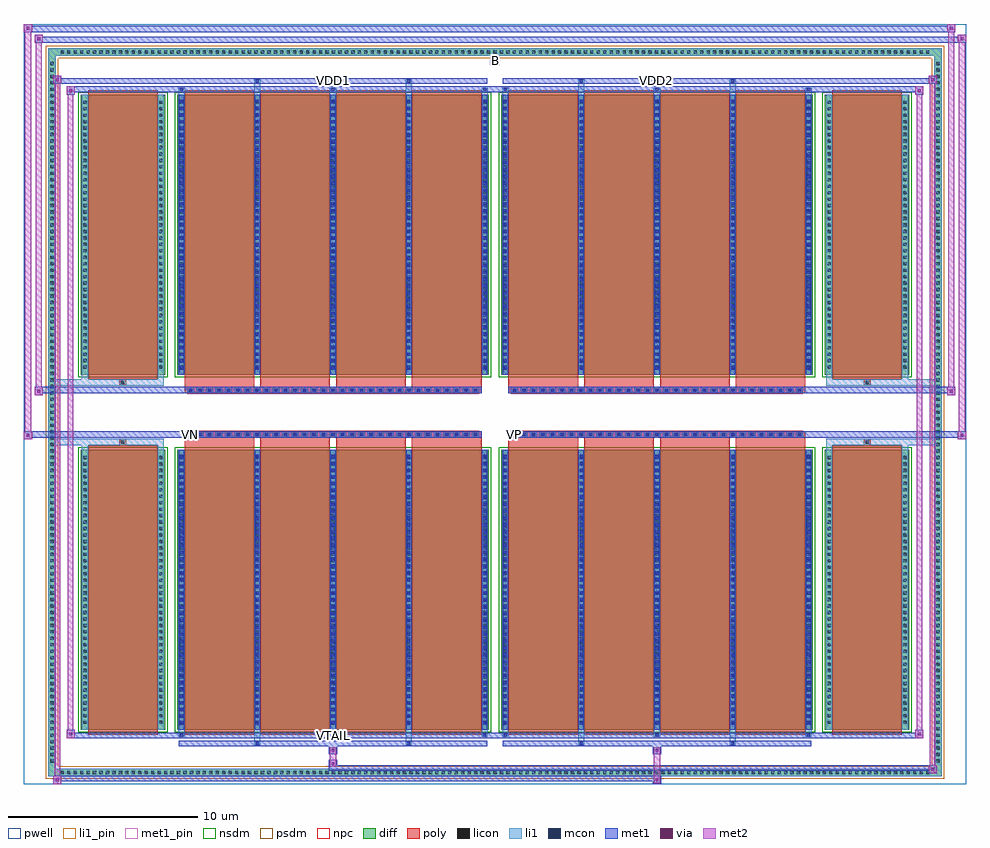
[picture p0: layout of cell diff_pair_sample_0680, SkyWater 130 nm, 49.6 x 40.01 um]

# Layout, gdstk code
import gdstk
lib = gdstk.Library(unit=1e-6, precision=5e-09)
def R(c, l, rs):  # rectangles x0, y0, x1, y1
    for r in rs: c.add(gdstk.rectangle(r[:2], r[2:], *l))
def A(c, l, x, y, w, h, nx, ny, dx, dy):  # array of equal rectangles
    R(c, l, [(x+i*dx, y+j*dy, x+i*dx+w, y+j*dy+h) for i in range(nx) for j in range(ny)])
def P(c, l, *ps):  # polygons
    for p in ps: c.add(gdstk.Polygon(p, *l))
pwell = (64, 44)
diff = (65, 20)
poly = (66, 20)
licon = (66, 44)
li1_pin = (67, 16)
li1 = (67, 20)
mcon = (67, 44)
met1_pin = (68, 16)
met1 = (68, 20)
via = (68, 44)
met2 = (69, 20)
nsdm = (93, 44)
psdm = (94, 20)
npc = (95, 20)

diff_pair_sample_0680 = lib.new_cell('diff_pair_sample_0680')
R(diff_pair_sample_0680, pwell, [(-24.8,-19.57,24.8,20.44), (-22.12,-17.76,-0.01,-0.8), (0.01,-17.76,22.12,-0.8), (-22.12,0.8,-0.01,17.76), (0.01,0.8,22.12,17.76)])
A(diff_pair_sample_0680, diff, -22.985, -19.17, 0.41, 0.41, 135, 2, 0.34, 37.93)
A(diff_pair_sample_0680, diff, -23.53, -18.565, 0.41, 0.41, 1, 109, 0, 0.34)
A(diff_pair_sample_0680, diff, 23.12, -18.565, 0.41, 0.41, 1, 109, 0, 0.34)
R(diff_pair_sample_0680, diff, [(-22.985,-19.17,22.985,-18.76), (-23.53,-18.565,-23.12,18.565), (23.12,-18.565,23.53,18.565), (-21.81,-16.715,-17.37,-1.985), (-16.73,-16.715,-0.32,-1.985), (0.32,-16.715,16.73,-1.985), (17.37,-16.715,21.81,-1.985), (-21.81,1.985,-17.37,16.715), (-16.73,1.985,-0.32,16.715), (0.32,1.985,16.73,16.715), (17.37,1.985,21.81,16.715), (-22.985,18.76,22.985,19.17)])
P(diff_pair_sample_0680, diff, [(23.53,19.17),(-23.53,19.17),(-23.53,-18.76),(-23.12,-18.76),(-23.12,18.76),(23.12,18.76),(23.12,-18.76),(-23.12,-18.76),(-23.53,-18.76),(-23.53,-19.17),(23.53,-19.17)])
A(diff_pair_sample_0680, poly, -16.34, -16.965, 3.66, 15.23, 4, 2, 3.99, 18.7)
A(diff_pair_sample_0680, poly, 0.71, -16.965, 3.66, 15.23, 4, 2, 3.99, 18.7)
A(diff_pair_sample_0680, poly, -16.34, -1.735, 3.66, 0.405, 4, 2, 3.99, 3.065)
A(diff_pair_sample_0680, poly, 0.71, -1.735, 3.66, 0.405, 4, 2, 3.99, 3.065)
A(diff_pair_sample_0680, poly, -16.19, -1.33, 0.33, 0.33, 31, 2, 0.5, 2.33)
A(diff_pair_sample_0680, poly, 0.86, -1.33, 0.33, 0.33, 31, 2, 0.5, 2.33)
R(diff_pair_sample_0680, poly, [(-21.42,-16.965,-17.76,-1.735), (17.76,-16.965,21.42,-1.735), (-19.755,-1.735,-19.425,-1.405), (-19.755,-1.735,-19.425,-1.405), (19.425,-1.735,19.755,-1.405), (19.425,-1.735,19.755,-1.405), (-16.34,-1.33,-0.71,-1), (0.71,-1.33,16.34,-1), (-16.34,1,-0.71,1.33), (0.71,1,16.34,1.33), (-19.755,1.405,-19.425,1.735), (-19.755,1.405,-19.425,1.735), (19.425,1.405,19.755,1.735), (19.425,1.405,19.755,1.735), (-21.42,1.735,-17.76,16.965), (17.76,1.735,21.42,16.965)])
A(diff_pair_sample_0680, licon, -22.865, -19.05, 0.17, 0.17, 135, 2, 0.34, 37.93)
A(diff_pair_sample_0680, licon, -23.41, -18.445, 0.17, 0.17, 1, 109, 0, 0.34)
A(diff_pair_sample_0680, licon, 23.24, -18.445, 0.17, 0.17, 1, 109, 0, 0.34)
A(diff_pair_sample_0680, licon, -21.67, -16.405, 0.17, 0.17, 1, 42, 0, 0.34)
A(diff_pair_sample_0680, licon, -17.68, -16.405, 0.17, 0.17, 1, 42, 0, 0.34)
A(diff_pair_sample_0680, licon, -16.59, -16.405, 0.17, 0.17, 5, 42, 3.99, 0.34)
A(diff_pair_sample_0680, licon, 0.46, -16.405, 0.17, 0.17, 5, 42, 3.99, 0.34)
A(diff_pair_sample_0680, licon, 17.51, -16.405, 0.17, 0.17, 1, 42, 0, 0.34)
A(diff_pair_sample_0680, licon, 21.5, -16.405, 0.17, 0.17, 1, 42, 0, 0.34)
A(diff_pair_sample_0680, licon, -16.11, -1.25, 0.17, 0.17, 31, 2, 0.5, 2.33)
A(diff_pair_sample_0680, licon, 0.94, -1.25, 0.17, 0.17, 31, 2, 0.5, 2.33)
A(diff_pair_sample_0680, licon, -21.67, 2.295, 0.17, 0.17, 1, 42, 0, 0.34)
A(diff_pair_sample_0680, licon, -17.68, 2.295, 0.17, 0.17, 1, 42, 0, 0.34)
A(diff_pair_sample_0680, licon, -16.59, 2.295, 0.17, 0.17, 5, 42, 3.99, 0.34)
A(diff_pair_sample_0680, licon, 0.46, 2.295, 0.17, 0.17, 5, 42, 3.99, 0.34)
A(diff_pair_sample_0680, licon, 17.51, 2.295, 0.17, 0.17, 1, 42, 0, 0.34)
A(diff_pair_sample_0680, licon, 21.5, 2.295, 0.17, 0.17, 1, 42, 0, 0.34)
R(diff_pair_sample_0680, licon, [(-19.675,-1.655,-19.505,-1.485), (19.505,-1.655,19.675,-1.485), (-19.675,1.485,-19.505,1.655), (19.505,1.485,19.675,1.655)])
R(diff_pair_sample_0680, li1_pin, [(-0.25,18.26,0.25,18.76)])
A(diff_pair_sample_0680, li1, -22.945, -19.13, 0.33, 0.33, 135, 2, 0.34, 37.93)
A(diff_pair_sample_0680, li1, -23.49, -18.525, 0.33, 0.33, 1, 109, 0, 0.34)
A(diff_pair_sample_0680, li1, 23.16, -18.525, 0.33, 0.33, 1, 109, 0, 0.34)
A(diff_pair_sample_0680, li1, -16.67, -17.09, 0.33, 0.375, 3, 2, 7.98, 33.805)
A(diff_pair_sample_0680, li1, -16.59, -17.09, 0.17, 0.17, 3, 2, 7.98, 34.01)
A(diff_pair_sample_0680, li1, 0.38, -17.09, 0.33, 0.375, 3, 2, 7.98, 33.805)
A(diff_pair_sample_0680, li1, 0.46, -17.09, 0.17, 0.17, 3, 2, 7.98, 34.01)
A(diff_pair_sample_0680, li1, -16.67, -16.715, 0.33, 14.73, 5, 2, 3.99, 18.7)
A(diff_pair_sample_0680, li1, 0.38, -16.715, 0.33, 14.73, 5, 2, 3.99, 18.7)
A(diff_pair_sample_0680, li1, -21.75, -16.485, 0.33, 0.33, 1, 42, 0, 0.34)
A(diff_pair_sample_0680, li1, -17.76, -16.485, 0.33, 0.33, 1, 42, 0, 0.34)
A(diff_pair_sample_0680, li1, -16.67, -16.485, 0.33, 0.33, 5, 42, 3.99, 0.34)
A(diff_pair_sample_0680, li1, 0.38, -16.485, 0.33, 0.33, 5, 42, 3.99, 0.34)
A(diff_pair_sample_0680, li1, 17.43, -16.485, 0.33, 0.33, 1, 42, 0, 0.34)
A(diff_pair_sample_0680, li1, 21.42, -16.485, 0.33, 0.33, 1, 42, 0, 0.34)
A(diff_pair_sample_0680, li1, -16.59, -16.455, 0.17, 0.17, 5, 40, 3.99, 0.36)
A(diff_pair_sample_0680, li1, -16.59, -16.455, 0.17, 14.21, 5, 2, 3.99, 18.7)
A(diff_pair_sample_0680, li1, 0.46, -16.455, 0.17, 0.17, 5, 40, 3.99, 0.36)
A(diff_pair_sample_0680, li1, 0.46, -16.455, 0.17, 14.21, 5, 2, 3.99, 18.7)
A(diff_pair_sample_0680, li1, -16.19, -1.33, 0.33, 0.33, 31, 2, 0.5, 2.33)
A(diff_pair_sample_0680, li1, 0.86, -1.33, 0.33, 0.33, 31, 2, 0.5, 2.33)
A(diff_pair_sample_0680, li1, -21.75, 2.215, 0.33, 0.33, 1, 42, 0, 0.34)
A(diff_pair_sample_0680, li1, -17.76, 2.215, 0.33, 0.33, 1, 42, 0, 0.34)
A(diff_pair_sample_0680, li1, -16.67, 2.215, 0.33, 0.33, 5, 42, 3.99, 0.34)
A(diff_pair_sample_0680, li1, 0.38, 2.215, 0.33, 0.33, 5, 42, 3.99, 0.34)
A(diff_pair_sample_0680, li1, 17.43, 2.215, 0.33, 0.33, 1, 42, 0, 0.34)
A(diff_pair_sample_0680, li1, 21.42, 2.215, 0.33, 0.33, 1, 42, 0, 0.34)
A(diff_pair_sample_0680, li1, -16.59, 2.245, 0.17, 0.17, 5, 40, 3.99, 0.36)
A(diff_pair_sample_0680, li1, 0.46, 2.245, 0.17, 0.17, 5, 40, 3.99, 0.36)
R(diff_pair_sample_0680, li1, [(-23.53,-19.17,-23.12,-18.76), (-23.53,-19.17,-23.12,-18.76), (-23.12,-19.17,23.12,-18.76), (23.12,-19.17,23.53,-18.76), (23.12,-19.17,23.53,-18.76), (-23.53,-18.76,-23.12,18.76), (23.12,-18.76,23.53,18.76), (-12.68,-17.52,-12.35,-16.715), (-12.6,-17.52,-12.43,-17.35), (-4.7,-17.52,-4.37,-16.715), (-4.62,-17.52,-4.45,-17.35), (4.37,-17.52,4.7,-16.715), (4.45,-17.52,4.62,-17.35), (12.35,-17.52,12.68,-16.715), (12.43,-17.52,12.6,-17.35), (-21.75,-16.715,-21.42,-1.985), (-17.76,-16.715,-17.43,-1.985), (17.43,-16.715,17.76,-1.985), (21.42,-16.715,21.75,-1.985), (-21.75,-1.985,-21.42,-1.405), (-17.76,-1.985,-17.43,-1.405), (17.43,-1.985,17.76,-1.405), (21.42,-1.985,21.75,-1.405), (-23.53,-1.735,-19.755,-1.405), (-21.75,-1.735,-19.755,-1.405), (-19.755,-1.735,-19.425,-1.405), (-19.425,-1.735,-17.43,-1.405), (17.43,-1.735,19.425,-1.405), (19.425,-1.735,19.755,-1.405), (19.425,-1.735,23.53,-1.405), (19.755,-1.735,21.75,-1.405), (-23.53,1.405,-19.755,1.735), (-21.75,1.405,-19.755,1.735), (-21.75,1.405,-21.42,1.985), (-19.755,1.405,-19.425,1.735), (-19.425,1.405,-17.43,1.735), (-17.76,1.405,-17.43,1.985), (17.43,1.405,19.425,1.735), (17.43,1.405,17.76,1.985), (19.425,1.405,19.755,1.735), (19.425,1.405,23.53,1.735), (19.755,1.405,21.75,1.735), (21.42,1.405,21.75,1.985), (-21.75,1.985,-21.42,16.715), (-17.76,1.985,-17.43,16.715), (17.43,1.985,17.76,16.715), (21.42,1.985,21.75,16.715), (-12.68,16.715,-12.35,17.52), (-4.7,16.715,-4.37,17.52), (4.37,16.715,4.7,17.52), (12.35,16.715,12.68,17.52), (-12.6,17.35,-12.43,17.52), (-4.62,17.35,-4.45,17.52), (4.45,17.35,4.62,17.52), (12.43,17.35,12.6,17.52), (-23.53,18.76,-23.12,19.17), (-23.53,18.76,-23.12,19.17), (-23.12,18.76,23.12,19.17), (23.12,18.76,23.53,19.17), (23.12,18.76,23.53,19.17)])
A(diff_pair_sample_0680, mcon, -16.59, -17.09, 0.17, 0.17, 3, 2, 7.98, 34.01)
A(diff_pair_sample_0680, mcon, 0.46, -17.09, 0.17, 0.17, 3, 2, 7.98, 34.01)
A(diff_pair_sample_0680, mcon, -16.59, -16.455, 0.17, 0.17, 5, 40, 3.99, 0.36)
A(diff_pair_sample_0680, mcon, 0.46, -16.455, 0.17, 0.17, 5, 40, 3.99, 0.36)
A(diff_pair_sample_0680, mcon, -16.11, -1.25, 0.17, 0.17, 31, 2, 0.5, 2.33)
A(diff_pair_sample_0680, mcon, 0.94, -1.25, 0.17, 0.17, 31, 2, 0.5, 2.33)
A(diff_pair_sample_0680, mcon, -16.59, 2.245, 0.17, 0.17, 5, 40, 3.99, 0.36)
A(diff_pair_sample_0680, mcon, 0.46, 2.245, 0.17, 0.17, 5, 40, 3.99, 0.36)
R(diff_pair_sample_0680, mcon, [(-12.6,-17.52,-12.43,-17.35), (-4.62,-17.52,-4.45,-17.35), (4.45,-17.52,4.62,-17.35), (12.43,-17.52,12.6,-17.35), (-12.6,17.35,-12.43,17.52), (-4.62,17.35,-4.45,17.52), (4.45,17.35,4.62,17.52), (12.43,17.35,12.6,17.52)])
R(diff_pair_sample_0680, met1_pin, [(-8.66,-17.13,-8.39,-16.86), (-16.16,-1.29,-15.89,-1.02), (0.89,-1.29,1.16,-1.02), (-8.66,17.31,-8.39,17.58), (8.39,17.31,8.66,17.58)])
A(diff_pair_sample_0680, met1, -16.65, -17.15, 0.29, 0.29, 3, 2, 7.98, 34.01)
A(diff_pair_sample_0680, met1, 0.4, -17.15, 0.29, 0.29, 3, 2, 7.98, 34.01)
A(diff_pair_sample_0680, met1, -16.65, -16.715, 0.29, 14.73, 5, 2, 3.99, 18.7)
A(diff_pair_sample_0680, met1, 0.4, -16.715, 0.29, 14.73, 5, 2, 3.99, 18.7)
A(diff_pair_sample_0680, met1, -16.65, -16.515, 0.29, 0.29, 5, 40, 3.99, 0.36)
A(diff_pair_sample_0680, met1, 0.4, -16.515, 0.29, 0.29, 5, 40, 3.99, 0.36)
A(diff_pair_sample_0680, met1, -16.17, -1.31, 0.29, 0.29, 31, 2, 0.5, 2.33)
A(diff_pair_sample_0680, met1, 0.88, -1.31, 0.29, 0.29, 31, 2, 0.5, 2.33)
A(diff_pair_sample_0680, met1, -16.65, 2.185, 0.29, 0.29, 5, 40, 3.99, 0.36)
A(diff_pair_sample_0680, met1, 0.4, 2.185, 0.29, 0.29, 5, 40, 3.99, 0.36)
R(diff_pair_sample_0680, met1, [(-23.26,-19.57,-22.83,-19.14), (8.31,-19.57,8.74,-19.14), (-23.26,-19.43,8.74,-19.14), (22.83,-19,23.26,-18.57), (-8.74,-18.86,23.26,-18.57), (-8.74,-18.72,-8.31,-18.29), (-8.74,-18.01,-8.31,-17.58), (8.31,-18.01,8.74,-17.58), (-16.65,-17.58,-0.4,-17.29), (-12.66,-17.58,-12.37,-17.29), (-4.68,-17.58,-4.39,-17.29), (0.4,-17.58,16.65,-17.29), (4.39,-17.58,4.68,-17.29), (12.37,-17.58,12.66,-17.29), (-22.55,-17.15,-22.12,-16.72), (-22.55,-17.15,-16.65,-16.86), (-16.65,-17.15,-0.4,-16.86), (-0.4,-17.15,0.4,-16.86), (0.4,-17.15,16.65,-16.86), (16.65,-17.15,22.55,-16.86), (22.12,-17.15,22.55,-16.72), (-24.8,-1.43,-24.37,-1), (24.37,-1.43,24.8,-1), (-24.8,-1.33,-0.71,-1), (-16.34,-1.33,-0.71,-1), (0.71,-1.33,16.34,-1), (0.71,-1.33,24.8,-1), (-24.23,0.9,-23.8,1.33), (23.8,0.9,24.23,1.33), (-24.23,1,-16.34,1.33), (-16.34,1,-0.71,1.33), (0.71,1,16.34,1.33), (16.34,1,24.23,1.33), (-22.55,16.72,-22.12,17.15), (22.12,16.72,22.55,17.15), (-22.55,16.86,-16.65,17.15), (-16.65,16.86,-0.4,17.15), (-0.4,16.86,0.4,17.15), (0.4,16.86,16.65,17.15), (16.65,16.86,22.55,17.15), (-23.26,17.29,-22.83,17.72), (-23.26,17.29,-16.65,17.58), (-16.65,17.29,-0.4,17.58), (-12.66,17.29,-12.37,17.58), (-4.68,17.29,-4.39,17.58), (0.4,17.29,16.65,17.58), (4.39,17.29,4.68,17.58), (12.37,17.29,12.66,17.58), (16.65,17.29,23.26,17.58), (22.83,17.29,23.26,17.72), (-24.23,19.44,-23.8,19.87), (-24.23,19.44,-22.12,19.77), (-22.12,19.44,22.12,19.77), (22.12,19.44,24.8,19.77), (24.37,19.44,24.8,19.87), (-24.8,20.01,-24.37,20.44), (-24.8,20.01,-22.12,20.34), (-22.12,20.01,22.12,20.34), (22.12,20.01,24.23,20.34), (23.8,20.01,24.23,20.44)])
R(diff_pair_sample_0680, via, [(-23.12,-19.43,-22.97,-19.28), (8.45,-19.43,8.6,-19.28), (22.97,-18.86,23.12,-18.71), (-8.6,-18.58,-8.45,-18.43), (-8.6,-17.87,-8.45,-17.72), (8.45,-17.87,8.6,-17.72), (-22.41,-17.01,-22.26,-16.86), (22.26,-17.01,22.41,-16.86), (-24.66,-1.29,-24.51,-1.14), (24.51,-1.29,24.66,-1.14), (-24.09,1.04,-23.94,1.19), (23.94,1.04,24.09,1.19), (-22.41,16.86,-22.26,17.01), (22.26,16.86,22.41,17.01), (-23.12,17.43,-22.97,17.58), (22.97,17.43,23.12,17.58), (-24.09,19.58,-23.94,19.73), (24.51,19.58,24.66,19.73), (-24.66,20.15,-24.51,20.3), (23.94,20.15,24.09,20.3)])
R(diff_pair_sample_0680, met2, [(-23.26,-19.57,-22.83,-19.14), (-23.19,-19.57,-22.9,17.72), (-22.9,-19.57,-22.83,-19.14), (-23.21,-19.52,-22.88,-19.19), (8.36,-19.52,8.69,-19.19), (8.36,-19.19,8.69,-17.96), (22.83,-19,23.26,-18.57), (22.9,-19,23.19,17.72), (23.19,-19,23.26,-18.57), (22.88,-18.95,23.21,-18.62), (-8.69,-18.67,-8.36,-18.34), (-8.69,-18.34,-8.36,-17.96), (-8.69,-17.96,-8.36,-17.63), (8.36,-17.96,8.69,-17.63), (-22.55,-17.15,-22.12,-16.72), (-22.48,-17.15,-22.19,17.15), (-22.19,-17.15,-22.12,-16.72), (22.12,-17.15,22.55,-16.72), (22.19,-17.15,22.48,17.15), (22.48,-17.15,22.55,-16.72), (-22.5,-17.1,-22.17,-16.77), (22.17,-17.1,22.5,-16.77), (-24.8,-1.43,-24.37,-1), (-24.75,-1.43,-24.42,20.44), (-24.42,-1.43,-24.37,-1), (24.37,-1.43,24.8,-1), (24.42,-1.43,24.75,19.87), (24.75,-1.43,24.8,-1), (-24.75,-1.38,-24.42,-1.05), (24.42,-1.38,24.75,-1.05), (-24.23,0.9,-23.8,1.33), (-24.18,0.9,-23.85,19.87), (-23.85,0.9,-23.8,1.33), (23.8,0.9,24.23,1.33), (23.85,0.9,24.18,20.44), (24.18,0.9,24.23,1.33), (-24.18,0.95,-23.85,1.28), (23.85,0.95,24.18,1.28), (-22.55,16.72,-22.12,17.15), (-22.19,16.72,-22.12,17.15), (22.12,16.72,22.55,17.15), (22.48,16.72,22.55,17.15), (-22.5,16.77,-22.17,17.1), (22.17,16.77,22.5,17.1), (-23.26,17.29,-22.83,17.72), (-22.9,17.29,-22.83,17.72), (22.83,17.29,23.26,17.72), (23.19,17.29,23.26,17.72), (-23.21,17.34,-22.88,17.67), (22.88,17.34,23.21,17.67), (-24.23,19.44,-23.8,19.87), (-23.85,19.44,-23.8,19.87), (24.37,19.44,24.8,19.87), (24.75,19.44,24.8,19.87), (-24.18,19.49,-23.85,19.82), (24.42,19.49,24.75,19.82), (-24.8,20.01,-24.37,20.44), (-24.42,20.01,-24.37,20.44), (23.8,20.01,24.23,20.44), (24.18,20.01,24.23,20.44), (-24.75,20.06,-24.42,20.39), (23.85,20.06,24.18,20.39)])
R(diff_pair_sample_0680, nsdm, [(-21.94,-16.845,-17.24,-1.855), (-16.86,-16.845,-0.19,-1.855), (0.19,-16.845,16.86,-1.855), (17.24,-16.845,21.94,-1.855), (-21.94,1.855,-17.24,16.845), (-16.86,1.855,-0.19,16.845), (0.19,1.855,16.86,16.845), (17.24,1.855,21.94,16.845)])
P(diff_pair_sample_0680, psdm, [(23.66,19.3),(-23.66,19.3),(-23.66,-18.63),(-22.99,-18.63),(-22.99,18.63),(22.99,18.63),(22.99,-18.63),(-22.99,-18.63),(-23.66,-18.63),(-23.66,-19.3),(23.66,-19.3)])
A(diff_pair_sample_0680, npc, -16.21, -1.35, 0.37, 0.37, 31, 2, 0.5, 2.33)
A(diff_pair_sample_0680, npc, 0.84, -1.35, 0.37, 0.37, 31, 2, 0.5, 2.33)
R(diff_pair_sample_0680, npc, [(-19.775,-1.755,-19.405,-1.385), (19.405,-1.755,19.775,-1.385), (-16.21,-1.35,-15.34,-0.98), (-16.21,-1.35,-15.34,-0.98), (-15.71,-1.35,-14.84,-0.98), (-15.71,-1.35,-14.84,-0.98), (-15.21,-1.35,-14.34,-0.98), (-15.21,-1.35,-14.34,-0.98), (-14.71,-1.35,-13.84,-0.98), (-14.71,-1.35,-13.84,-0.98), (-14.21,-1.35,-13.34,-0.98), (-14.21,-1.35,-13.34,-0.98), (-13.71,-1.35,-12.84,-0.98), (-13.71,-1.35,-12.84,-0.98), (-13.21,-1.35,-12.34,-0.98), (-13.21,-1.35,-12.34,-0.98), (-12.71,-1.35,-11.84,-0.98), (-12.71,-1.35,-11.84,-0.98), (-12.21,-1.35,-11.34,-0.98), (-12.21,-1.35,-11.34,-0.98), (-11.71,-1.35,-10.84,-0.98), (-11.71,-1.35,-10.84,-0.98), (-11.21,-1.35,-10.34,-0.98), (-11.21,-1.35,-10.34,-0.98), (-10.71,-1.35,-9.84,-0.98), (-10.71,-1.35,-9.84,-0.98), (-10.21,-1.35,-9.34,-0.98), (-10.21,-1.35,-9.34,-0.98), (-9.71,-1.35,-8.84,-0.98), (-9.71,-1.35,-8.84,-0.98), (-9.21,-1.35,-8.34,-0.98), (-9.21,-1.35,-8.34,-0.98), (-8.71,-1.35,-7.84,-0.98), (-8.71,-1.35,-7.84,-0.98), (-8.21,-1.35,-7.34,-0.98), (-8.21,-1.35,-7.34,-0.98), (-7.71,-1.35,-6.84,-0.98), (-7.71,-1.35,-6.84,-0.98), (-7.21,-1.35,-6.34,-0.98), (-7.21,-1.35,-6.34,-0.98), (-6.71,-1.35,-5.84,-0.98), (-6.71,-1.35,-5.84,-0.98), (-6.21,-1.35,-5.34,-0.98), (-6.21,-1.35,-5.34,-0.98), (-5.71,-1.35,-4.84,-0.98), (-5.71,-1.35,-4.84,-0.98), (-5.21,-1.35,-4.34,-0.98), (-5.21,-1.35,-4.34,-0.98), (-4.71,-1.35,-3.84,-0.98), (-4.71,-1.35,-3.84,-0.98), (-4.21,-1.35,-3.34,-0.98), (-4.21,-1.35,-3.34,-0.98), (-3.71,-1.35,-2.84,-0.98), (-3.71,-1.35,-2.84,-0.98), (-3.21,-1.35,-2.34,-0.98), (-3.21,-1.35,-2.34,-0.98), (-2.71,-1.35,-1.84,-0.98), (-2.71,-1.35,-1.84,-0.98), (-2.21,-1.35,-1.34,-0.98), (-2.21,-1.35,-1.34,-0.98), (-1.71,-1.35,-0.84,-0.98), (-1.71,-1.35,-0.84,-0.98), (0.84,-1.35,1.71,-0.98), (0.84,-1.35,1.71,-0.98), (1.34,-1.35,2.21,-0.98), (1.34,-1.35,2.21,-0.98), (1.84,-1.35,2.71,-0.98), (1.84,-1.35,2.71,-0.98), (2.34,-1.35,3.21,-0.98), (2.34,-1.35,3.21,-0.98), (2.84,-1.35,3.71,-0.98), (2.84,-1.35,3.71,-0.98), (3.34,-1.35,4.21,-0.98), (3.34,-1.35,4.21,-0.98), (3.84,-1.35,4.71,-0.98), (3.84,-1.35,4.71,-0.98), (4.34,-1.35,5.21,-0.98), (4.34,-1.35,5.21,-0.98), (4.84,-1.35,5.71,-0.98), (4.84,-1.35,5.71,-0.98), (5.34,-1.35,6.21,-0.98), (5.34,-1.35,6.21,-0.98), (5.84,-1.35,6.71,-0.98), (5.84,-1.35,6.71,-0.98), (6.34,-1.35,7.21,-0.98), (6.34,-1.35,7.21,-0.98), (6.84,-1.35,7.71,-0.98), (6.84,-1.35,7.71,-0.98), (7.34,-1.35,8.21,-0.98), (7.34,-1.35,8.21,-0.98), (7.84,-1.35,8.71,-0.98), (7.84,-1.35,8.71,-0.98), (8.34,-1.35,9.21,-0.98), (8.34,-1.35,9.21,-0.98), (8.84,-1.35,9.71,-0.98), (8.84,-1.35,9.71,-0.98), (9.34,-1.35,10.21,-0.98), (9.34,-1.35,10.21,-0.98), (9.84,-1.35,10.71,-0.98), (9.84,-1.35,10.71,-0.98), (10.34,-1.35,11.21,-0.98), (10.34,-1.35,11.21,-0.98), (10.84,-1.35,11.71,-0.98), (10.84,-1.35,11.71,-0.98), (11.34,-1.35,12.21,-0.98), (11.34,-1.35,12.21,-0.98), (11.84,-1.35,12.71,-0.98), (11.84,-1.35,12.71,-0.98), (12.34,-1.35,13.21,-0.98), (12.34,-1.35,13.21,-0.98), (12.84,-1.35,13.71,-0.98), (12.84,-1.35,13.71,-0.98), (13.34,-1.35,14.21,-0.98), (13.34,-1.35,14.21,-0.98), (13.84,-1.35,14.71,-0.98), (13.84,-1.35,14.71,-0.98), (14.34,-1.35,15.21,-0.98), (14.34,-1.35,15.21,-0.98), (14.84,-1.35,15.71,-0.98), (14.84,-1.35,15.71,-0.98), (15.34,-1.35,16.21,-0.98), (15.34,-1.35,16.21,-0.98), (-16.21,0.98,-15.34,1.35), (-16.21,0.98,-15.34,1.35), (-15.71,0.98,-14.84,1.35), (-15.71,0.98,-14.84,1.35), (-15.21,0.98,-14.34,1.35), (-15.21,0.98,-14.34,1.35), (-14.71,0.98,-13.84,1.35), (-14.71,0.98,-13.84,1.35), (-14.21,0.98,-13.34,1.35), (-14.21,0.98,-13.34,1.35), (-13.71,0.98,-12.84,1.35), (-13.71,0.98,-12.84,1.35), (-13.21,0.98,-12.34,1.35), (-13.21,0.98,-12.34,1.35), (-12.71,0.98,-11.84,1.35), (-12.71,0.98,-11.84,1.35), (-12.21,0.98,-11.34,1.35), (-12.21,0.98,-11.34,1.35), (-11.71,0.98,-10.84,1.35), (-11.71,0.98,-10.84,1.35), (-11.21,0.98,-10.34,1.35), (-11.21,0.98,-10.34,1.35), (-10.71,0.98,-9.84,1.35), (-10.71,0.98,-9.84,1.35), (-10.21,0.98,-9.34,1.35), (-10.21,0.98,-9.34,1.35), (-9.71,0.98,-8.84,1.35), (-9.71,0.98,-8.84,1.35), (-9.21,0.98,-8.34,1.35), (-9.21,0.98,-8.34,1.35), (-8.71,0.98,-7.84,1.35), (-8.71,0.98,-7.84,1.35), (-8.21,0.98,-7.34,1.35), (-8.21,0.98,-7.34,1.35), (-7.71,0.98,-6.84,1.35), (-7.71,0.98,-6.84,1.35), (-7.21,0.98,-6.34,1.35), (-7.21,0.98,-6.34,1.35), (-6.71,0.98,-5.84,1.35), (-6.71,0.98,-5.84,1.35), (-6.21,0.98,-5.34,1.35), (-6.21,0.98,-5.34,1.35), (-5.71,0.98,-4.84,1.35), (-5.71,0.98,-4.84,1.35), (-5.21,0.98,-4.34,1.35), (-5.21,0.98,-4.34,1.35), (-4.71,0.98,-3.84,1.35), (-4.71,0.98,-3.84,1.35), (-4.21,0.98,-3.34,1.35), (-4.21,0.98,-3.34,1.35), (-3.71,0.98,-2.84,1.35), (-3.71,0.98,-2.84,1.35), (-3.21,0.98,-2.34,1.35), (-3.21,0.98,-2.34,1.35), (-2.71,0.98,-1.84,1.35), (-2.71,0.98,-1.84,1.35), (-2.21,0.98,-1.34,1.35), (-2.21,0.98,-1.34,1.35), (-1.71,0.98,-0.84,1.35), (-1.71,0.98,-0.84,1.35), (0.84,0.98,1.71,1.35), (0.84,0.98,1.71,1.35), (1.34,0.98,2.21,1.35), (1.34,0.98,2.21,1.35), (1.84,0.98,2.71,1.35), (1.84,0.98,2.71,1.35), (2.34,0.98,3.21,1.35), (2.34,0.98,3.21,1.35), (2.84,0.98,3.71,1.35), (2.84,0.98,3.71,1.35), (3.34,0.98,4.21,1.35), (3.34,0.98,4.21,1.35), (3.84,0.98,4.71,1.35), (3.84,0.98,4.71,1.35), (4.34,0.98,5.21,1.35), (4.34,0.98,5.21,1.35), (4.84,0.98,5.71,1.35), (4.84,0.98,5.71,1.35), (5.34,0.98,6.21,1.35), (5.34,0.98,6.21,1.35), (5.84,0.98,6.71,1.35), (5.84,0.98,6.71,1.35), (6.34,0.98,7.21,1.35), (6.34,0.98,7.21,1.35), (6.84,0.98,7.71,1.35), (6.84,0.98,7.71,1.35), (7.34,0.98,8.21,1.35), (7.34,0.98,8.21,1.35), (7.84,0.98,8.71,1.35), (7.84,0.98,8.71,1.35), (8.34,0.98,9.21,1.35), (8.34,0.98,9.21,1.35), (8.84,0.98,9.71,1.35), (8.84,0.98,9.71,1.35), (9.34,0.98,10.21,1.35), (9.34,0.98,10.21,1.35), (9.84,0.98,10.71,1.35), (9.84,0.98,10.71,1.35), (10.34,0.98,11.21,1.35), (10.34,0.98,11.21,1.35), (10.84,0.98,11.71,1.35), (10.84,0.98,11.71,1.35), (11.34,0.98,12.21,1.35), (11.34,0.98,12.21,1.35), (11.84,0.98,12.71,1.35), (11.84,0.98,12.71,1.35), (12.34,0.98,13.21,1.35), (12.34,0.98,13.21,1.35), (12.84,0.98,13.71,1.35), (12.84,0.98,13.71,1.35), (13.34,0.98,14.21,1.35), (13.34,0.98,14.21,1.35), (13.84,0.98,14.71,1.35), (13.84,0.98,14.71,1.35), (14.34,0.98,15.21,1.35), (14.34,0.98,15.21,1.35), (14.84,0.98,15.71,1.35), (14.84,0.98,15.71,1.35), (15.34,0.98,16.21,1.35), (15.34,0.98,16.21,1.35), (-19.775,1.385,-19.405,1.755), (19.405,1.385,19.775,1.755)])
diff_pair_sample_0680.add(gdstk.Label('VTAIL', (-8.525,-16.995), layer=68, texttype=5))
diff_pair_sample_0680.add(gdstk.Label('VN', (-16.025,-1.155), layer=68, texttype=5))
diff_pair_sample_0680.add(gdstk.Label('VP', (1.025,-1.155), layer=68, texttype=5))
diff_pair_sample_0680.add(gdstk.Label('B', (0,18.51), layer=67, texttype=5))
diff_pair_sample_0680.add(gdstk.Label('VDD2', (8.525,17.445), layer=68, texttype=5))
diff_pair_sample_0680.add(gdstk.Label('VDD1', (-8.525,17.445), layer=68, texttype=5))

lib.write_gds('diff_pair_sample_0680.gds')
